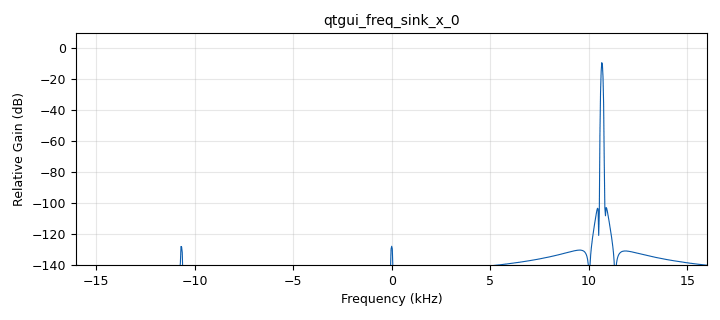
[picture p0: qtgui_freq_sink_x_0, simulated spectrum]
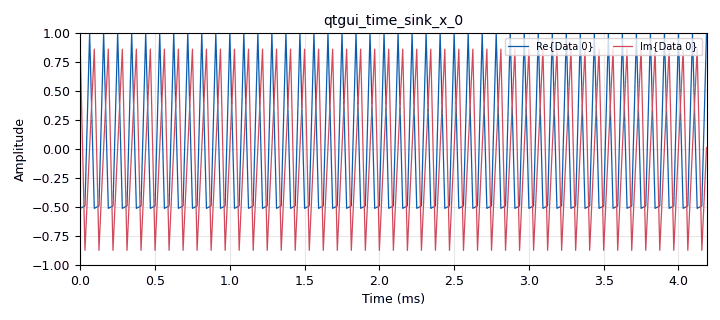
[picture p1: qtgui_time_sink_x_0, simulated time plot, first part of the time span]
options:
  parameters:
    generate_options: qt_gui
    id: sineWaveFlowgraph
    output_language: python
    title: sineWaveFlowgraph
  states: {}

blocks:
- name: frequency
  id: variable
  parameters:
    value: samp_rate/3
  states: {}
- name: frequency
  id: variable_qtgui_range
  parameters:
    start: '-samp_rate/2'
    step: '100'
    stop: samp_rate/2
    value: '0'
  states: {state: disabled}
- name: frequency
  id: variable_qtgui_chooser
  parameters:
    label0: 'Frequency: 0'
    label1: 'Frequency : 1000'
    label2: 'Frequency: -2000'
    num_opts: '3'
    option0: '0'
    option1: '1000'
    option2: '-2000'
    type: int
    value: '0'
  states: {state: disabled}
- name: samp_rate
  id: variable
  parameters:
    value: '32000'
  states: {}
- name: analog_sig_source_x_0
  id: analog_sig_source_x
  parameters:
    amp: '1'
    freq: frequency
    offset: '0'
    phase: '0'
    samp_rate: samp_rate
    type: complex
    waveform: analog.GR_COS_WAVE
  states: {}
- name: blocks_throttle2_0
  id: blocks_throttle2
  parameters:
    samples_per_second: samp_rate
    type: complex
  states: {}
- name: qtgui_freq_sink_x_0
  id: qtgui_freq_sink_x
  parameters:
    bw: samp_rate
    fc: '0'
    fftsize: '1024'
    type: complex
  states: {}
- name: qtgui_time_sink_x_0
  id: qtgui_time_sink_x
  parameters:
    size: '1024'
    srate: samp_rate
    type: complex
  states: {}

connections:
- [analog_sig_source_x_0, '0', blocks_throttle2_0, '0']
- [blocks_throttle2_0, '0', qtgui_freq_sink_x_0, '0']
- [blocks_throttle2_0, '0', qtgui_time_sink_x_0, '0']

metadata:
  file_format: 1
  grc_version: 3.10.12.0
